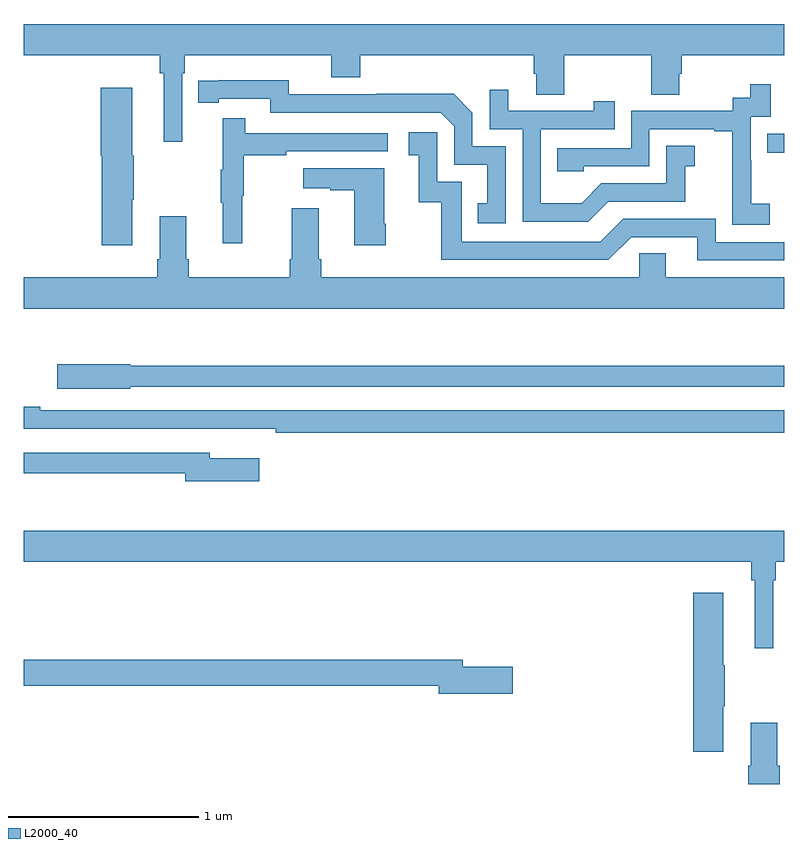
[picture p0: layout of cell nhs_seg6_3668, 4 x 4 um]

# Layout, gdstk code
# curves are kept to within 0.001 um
import gdstk
lib = gdstk.Library(unit=1e-6, precision=1e-09)
def R(c, l, rs):  # rectangles x0, y0, x1, y1
    for r in rs: c.add(gdstk.rectangle(r[:2], r[2:], *l))
def P(c, l, *ps):  # polygons
    for p in ps: c.add(gdstk.Polygon(p, *l))
L2000_40 = (2000, 40)

nhs_seg6_3668 = lib.new_cell('nhs_seg6_3668')
R(nhs_seg6_3668, L2000_40, [(328.909,950.818,329,950.919)])
P(nhs_seg6_3668, L2000_40, [(325.833,951.236),(325.847,951.236),(325.847,951.332),(326.618,951.332),(326.618,951.215),(326.771,951.215),(326.771,951.332),(327.683,951.332),(327.683,951.234),(327.695,951.234),(327.695,951.124),(327.843,951.124),(327.843,951.332),(328.3,951.332),(328.3,951.124),(328.447,951.124),(328.447,951.234),(328.46,951.234),(328.46,951.332),(329,951.332),(329,951.496),(325,951.496),(325,951.332),(325.717,951.332),(325.717,951.236),(325.736,951.236),(325.736,950.877),(325.833,950.877)],
  [(327.534,950.853),(327.36,950.853),(327.36,951.03),(327.262,951.128),(326.854,951.128),(326.854,951.126),(326.394,951.126),(326.394,951.199),(325.918,951.198),(325.918,951.082),(326.026,951.082),(326.026,951.102),(326.298,951.102),(326.298,951.03),(327.192,951.03),(327.264,950.958),(327.264,950.757),(327.437,950.757),(327.437,950.553),(327.388,950.553),(327.388,950.448),(327.534,950.448)],
  [(328.924,950.551),(328.826,950.551),(328.826,950.78),(328.824,950.78),(328.824,951.009),(328.929,951.009),(328.929,951.178),(328.821,951.178),(328.821,951.108),(328.728,951.108),(328.728,951.039),(328.194,951.039),(328.194,950.844),(327.805,950.844),(327.805,950.721),(327.945,950.721),(327.945,950.748),(328.29,950.748),(328.29,950.943),(328.631,950.943),(328.631,950.931),(328.727,950.931),(328.727,950.647),(328.726,950.647),(328.726,950.441),(328.924,950.441)],
  [(325.57,950.572),(325.578,950.572),(325.578,950.802),(325.57,950.802),(325.57,951.16),(325.406,951.16),(325.406,950.802),(325.412,950.802),(325.412,950.334),(325.57,950.334)],
  [(328.075,950.562),(328.479,950.562),(328.479,950.747),(328.528,950.747),(328.528,950.857),(328.38,950.857),(328.38,950.658),(328.038,950.658),(327.934,950.554),(327.72,950.554),(327.72,950.943),(328.109,950.943),(328.109,951.091),(327.998,951.091),(327.998,951.039),(327.547,951.039),(327.547,951.151),(327.45,951.151),(327.45,950.943),(327.624,950.943),(327.624,950.457),(327.97,950.457)],
  [(326.15,950.592),(326.158,950.592),(326.158,950.806),(326.381,950.806),(326.381,950.826),(326.914,950.826),(326.914,950.922),(326.165,950.922),(326.165,951.001),(326.048,951.001),(326.048,950.729),(326.037,950.729),(326.037,950.555),(326.048,950.555),(326.048,950.343),(326.15,950.343)],
  [(329,950.349),(328.638,950.349),(328.638,950.472),(328.152,950.472),(328.032,950.352),(327.303,950.352),(327.303,950.667),(327.174,950.667),(327.174,950.926),(327.024,950.926),(327.024,950.805),(327.077,950.805),(327.077,950.559),(327.195,950.559),(327.195,950.256),(328.074,950.256),(328.194,950.376),(328.541,950.376),(328.541,950.253),(329,950.253)],
  [(326.904,950.446),(326.896,950.446),(326.896,950.737),(326.469,950.737),(326.469,950.633),(326.612,950.633),(326.612,950.623),(326.738,950.623),(326.738,950.334),(326.904,950.334)],
  [(329,950.164),(328.375,950.164),(328.375,950.291),(328.236,950.291),(328.236,950.164),(326.564,950.164),(326.564,950.26),(326.551,950.26),(326.551,950.527),(326.411,950.527),(326.411,950.26),(326.399,950.26),(326.399,950.164),(325.868,950.164),(325.868,950.26),(325.855,950.26),(325.855,950.485),(325.715,950.485),(325.715,950.26),(325.703,950.26),(325.703,950.164),(325,950.164),(325,950),(329,950)],
  [(325.56,949.59),(329,949.59),(329,949.699),(325.56,949.699),(325.56,949.707),(325.176,949.707),(325.176,949.577),(325.56,949.577)],
  [(329,949.464),(325.088,949.464),(325.088,949.484),(325,949.484),(325,949.368),(326.074,949.368),(326.074,949.367),(326.326,949.367),(326.326,949.348),(329,949.348)],
  [(326.239,949.213),(325.978,949.213),(325.978,949.242),(325,949.242),(325,949.134),(325.85,949.134),(325.85,949.091),(326.239,949.091)],
  [(325,948.668),(328.825,948.668),(328.825,948.572),(328.844,948.572),(328.844,948.213),(328.941,948.213),(328.941,948.572),(328.955,948.572),(328.955,948.668),(329,948.668),(329,948.832),(325,948.832)],
  [(328.678,947.908),(328.686,947.908),(328.686,948.125),(328.678,948.125),(328.678,948.505),(328.52,948.505),(328.52,947.67),(328.678,947.67)],
  [(327.571,948.116),(327.31,948.116),(327.31,948.152),(325,948.152),(325,948.016),(327.182,948.016),(327.182,947.974),(327.571,947.974)],
  [(328.976,947.596),(328.963,947.596),(328.963,947.821),(328.823,947.821),(328.823,947.596),(328.811,947.596),(328.811,947.5),(328.976,947.5)])

lib.write_gds('nhs_seg6_3668.gds')
